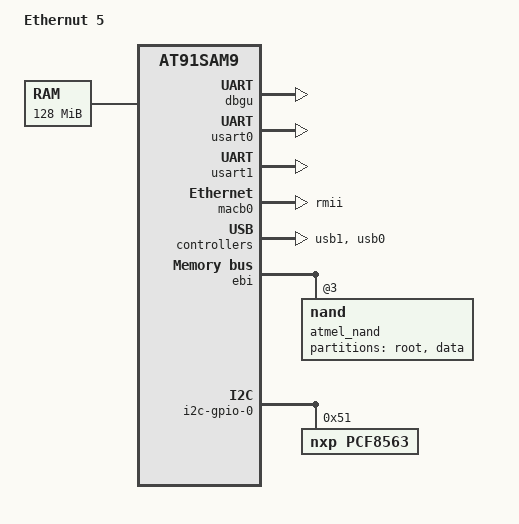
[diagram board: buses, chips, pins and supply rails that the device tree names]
// SPDX-License-Identifier: GPL-2.0-only
/*
 * ethernut5.dts - Device Tree file for Ethernut 5 board
 *
 * Copyright (C) 2012 egnite GmbH <info@egnite.de>
 */
/dts-v1/;
#include "at91sam9xe.dtsi"

/ {
	model = "Ethernut 5";
	compatible = "egnite,ethernut5", "atmel,at91sam9260", "atmel,at91sam9";

	chosen {
		bootargs = "console=ttyS0,115200 root=/dev/mtdblock0 rw rootfstype=jffs2";
	};

	memory@20000000 {
		reg = <0x20000000 0x08000000>;
	};

	clocks {
		slow_xtal {
			clock-frequency = <32768>;
		};

		main_xtal {
			clock-frequency = <18432000>;
		};
	};

	ahb {
		apb {
			dbgu: serial@fffff200 {
				status = "okay";
			};

			tcb0: timer@fffa0000 {
				timer@0 {
					compatible = "atmel,tcb-timer";
					reg = <0>, <1>;
				};

				timer@2 {
					compatible = "atmel,tcb-timer";
					reg = <2>;
				};
			};

			usart0: serial@fffb0000 {
				status = "okay";
			};

			usart1: serial@fffb4000 {
				status = "okay";
			};

			macb0: ethernet@fffc4000 {
				phy-mode = "rmii";
				status = "okay";
			};

			usb1: gadget@fffa4000 {
				atmel,vbus-gpio = <&pioC 5 GPIO_ACTIVE_HIGH>;
				status = "okay";
			};
		};

		ebi: ebi@10000000 {
			status = "okay";

			nand_controller: nand-controller {
				status = "okay";
				pinctrl-0 = <&pinctrl_nand_cs>;
				pinctrl-names = "default";

				nand: nand@3 {
					reg = <0x3 0x0 0x800000>;
					cs-gpios = <&pioC 14 GPIO_ACTIVE_HIGH>;
					nand-bus-width = <8>;
					nand-ecc-mode = "soft";
					nand-on-flash-bbt;
					label = "atmel_nand";

					partitions {
						compatible = "fixed-partitions";
						#address-cells = <1>;
						#size-cells = <1>;

						root@0 {
							label = "root";
							reg = <0x0 0x08000000>;
						};

						data@20000 {
							label = "data";
							reg = <0x08000000 0x38000000>;
						};
					};
				};
			};
		};

		usb0: ohci@500000 {
			num-ports = <2>;
			status = "okay";
		};
	};

	i2c-gpio-0 {
		status = "okay";

		pcf8563@50 {
			compatible = "nxp,pcf8563";
			reg = <0x51>;
		};
	};
};
